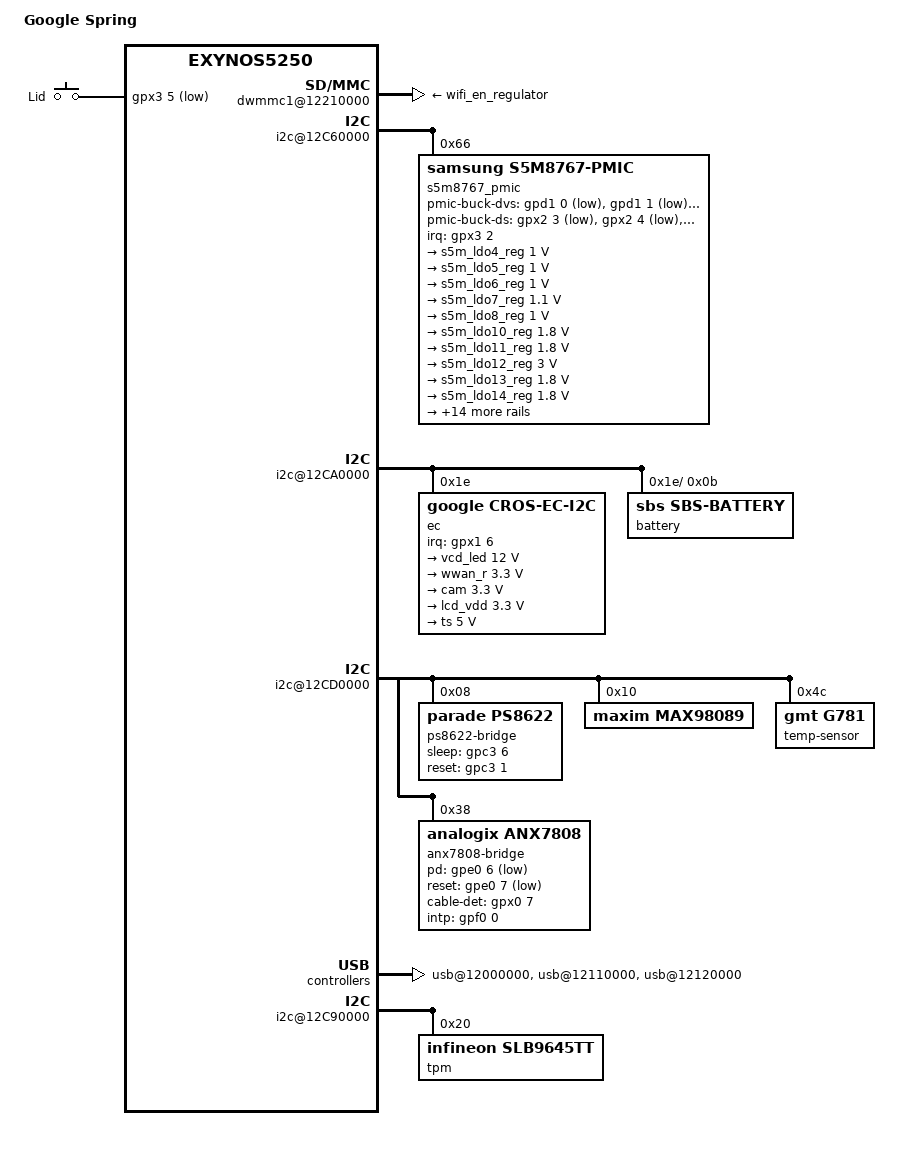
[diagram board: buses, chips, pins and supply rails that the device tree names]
/*
 * Google Spring board device tree source
 *
 * Copyright (c) 2013 Google, Inc
 *
 * This program is free software; you can redistribute it and/or modify
 * it under the terms of the GNU General Public License version 2 as
 * published by the Free Software Foundation.
*/

/dts-v1/;
#include "exynos5250.dtsi"
#include "cros5250-common.dtsi"

/ {
	model = "Google Spring";
	compatible = "google,spring", "samsung,exynos5250";

	aliases {
		i2c20 = &i2c_20;
	};

	pinctrl@11400000 {
		sd1_clk: sd1-clk {
			samsung,pin-drv = <0>;
		};

		sd1_cmd: sd1-cmd {
			samsung,pin-pud = <3>;
			samsung,pin-drv = <0>;
		};

		sd1_bus4: sd1-bus-width4 {
			samsung,pin-drv = <0>;
		};

		anx7808_irq0: anx7808-irq0 {
			samsung,pins = "gpx0-7";
			samsung,pin-function = <0>;
			samsung,pin-pud = <0>;
			samsung,pin-drv = <0>;
		};

		dp_hpd: dp-hpd {
			samsung,pins = "gpc3-0";
			samsung,pin-function = <0>;
			samsung,pin-pud = <3>;
			samsung,pin-drv = <0>;
		};

		ec_irq: ec-irq {
			samsung,pins = "gpx1-6";
			samsung,pin-function = <0>;
			samsung,pin-pud = <0>;
			samsung,pin-drv = <0>;
		};

		lid_irq: lid-irq {
			samsung,pins = "gpx3-5";
			samsung,pin-function = <0>;
			samsung,pin-pud = <0>;
			samsung,pin-drv = <0>;
		};

		s5m8767_ds: s5m8767-ds {
			samsung,pins = "gpx2-3", "gpx2-4", "gpx2-5";
			samsung,pin-function = <0>;
			samsung,pin-pud = <1>;
			samsung,pin-drv = <0>;
		};

		s5m8767_dvs: s5m8767-dvs {
			samsung,pins = "gpd1-0", "gpd1-1", "gpd1-2";
			samsung,pin-function = <0>;
			samsung,pin-pud = <1>;
			samsung,pin-drv = <0>;
		};

		s5m8767_irq: s5m8767-irq {
			samsung,pins = "gpx3-2";
			samsung,pin-function = <0>;
			samsung,pin-pud = <0>;
			samsung,pin-drv = <0>;
		};

		ps8622_gpios: ps8622-gpios {
			samsung,pins = "gpc3-1", "gpc3-6";
			samsung,pin-function = <1>;
			samsung,pin-pud = <0>;
			samsung,pin-drv = <0>;
		};

		tps65090_irq: tps65090-irq {
			samsung,pins = "gpx2-6";
			samsung,pin-function = <0>;
			samsung,pin-pud = <0>;
			samsung,pin-drv = <0>;
		};
	};

	pinctrl@13400000 {
		anx7808_gpios: anx7808-gpios {
			samsung,pins = "gpe0-6", "gpe0-7";
			samsung,pin-function = <1>;
			samsung,pin-pud = <0>;
			samsung,pin-drv = <0>;
		};

		anx7808_irq1: anx7808-irq1 {
			samsung,pins = "gpf0-0";
			samsung,pin-function = <0>;
			samsung,pin-pud = <0>;
			samsung,pin-drv = <0>;
		};
	};

	gpio-keys {
		compatible = "gpio-keys";

		pinctrl-names = "default";
		pinctrl-0 = <&power_key_irq &lid_irq>;

		lid-switch {
			label = "Lid";
			gpios = <&gpx3 5 1>;
			linux,input-type = <5>; /* EV_SW */
			linux,code = <0>; /* SW_LID */
			debounce-interval = <1>;
			gpio-key,wakeup;
		};
	};

	dwmmc1@12210000 {
		/*
		 * The current best way to ensure that reset/enable and clocks
		 * are available before we try to probe the WiFi card is through
		 * a chain of regulators.
		 */
		vmmc-supply = <&wifi_en_regulator>;

		status = "okay";
		num-slots = <1>;
		supports-highspeed;
		supports-sdr50-mode;
		broken-cd;
		keep-power-in-suspend;
		edge-triggered-interrupts;
		fifo-depth = <0x80>;
		card-detect-delay = <200>;
		clock-frequency = <800000000>;
		samsung,dw-mshc-ciu-div = <3>;
		samsung,dw-mshc-sdr-timing = <2 3>;
		samsung,dw-mshc-ddr-timing = <1 2>;
		/*
		 * Wifi is a SiP, so can keep drive strengths low
		 * to reduce EMI.
		 */
		pinctrl-names = "default";
		pinctrl-0 = <&sd1_clk &sd1_cmd &sd1_bus4>;
		slot@0 {
			reg = <0>;
			bus-width = <4>;
		};
	};

	dwmmc2@12220000 {
		/* MMC2 pins are used as GPIO for eDP bridge control */
		status = "disabled";
	};

	dwmmc3@12230000 {
		/*
		 * Nothing is connected on MMC3 port : disable it.
		 *
		 * We override the default configuration for this port which
		 * configures it for SDIO in cros5250-common.dtsi.
		 */
		status = "disabled";
	};

	i2c@12C60000 {
		max77686@09 {
			status = "disabled";
		};

		s5m8767_pmic@66 {
			compatible = "samsung,s5m8767-pmic";
			interrupt-parent = <&gpx3>;
			interrupts = <2 0>;
			pinctrl-names = "default";
			pinctrl-0 = <&s5m8767_irq &s5m8767_dvs &s5m8767_ds>;
			wakeup-source;
			reg = <0x66>;

			s5m-core,enable-low-jitter;
			s5m-core,device_type = <2>;

			s5m8767,pmic-buck-dvs-gpios = <&gpd1 0 1>, /* DVS1 */
						      <&gpd1 1 1>, /* DVS2 */
						      <&gpd1 2 1>; /* DVS3 */

			s5m8767,pmic-buck-ds-gpios = <&gpx2 3 1>, /* SET1 */
						     <&gpx2 4 1>, /* SET2 */
						     <&gpx2 5 1>; /* SET3 */


			/*
			 * the following arrays of DVS voltages are not used
			 * since we are not using GPIOs to control PMIC bucks
			 * but they must be defined to please the driver.
			 */
			s5m8767,pmic-buck2-dvs-voltage = <1350000>, <1300000>,
							 <1250000>, <1200000>,
							 <1150000>, <1100000>,
							 <1000000>, <950000>;

			s5m8767,pmic-buck3-dvs-voltage = <1100000>, <1100000>,
							 <1100000>, <1100000>,
							 <1000000>, <1000000>,
							 <1000000>, <1000000>;

			s5m8767,pmic-buck4-dvs-voltage = <1200000>, <1200000>,
							 <1200000>, <1200000>,
							 <1200000>, <1200000>,
							 <1200000>, <1200000>;

			regulators {
				s5m_ldo4_reg: LDO4 {
					regulator-name = "P1.0V_LDO_OUT4";
					regulator-min-microvolt = <1000000>;
					regulator-max-microvolt = <1000000>;
					regulator-always-on;
					/* Output OFF */
					op_mode = <0>;
				};
				s5m_ldo5_reg: LDO5 {
					regulator-name = "P1.0V_LDO_OUT5";
					regulator-min-microvolt = <1000000>;
					regulator-max-microvolt = <1000000>;
					regulator-always-on;
					/* Output OFF */
					op_mode = <0>;
				};
				s5m_ldo6_reg: LDO6 {
					regulator-name = "vdd_mydp";
					regulator-min-microvolt = <1000000>;
					regulator-max-microvolt = <1000000>;
					regulator-always-on;
					/* Output ON/OFF controlled by PWRREQ */
					op_mode = <3>;
				};
				s5m_ldo7_reg: LDO7 {
					regulator-name = "P1.1V_LDO_OUT7";
					regulator-min-microvolt = <1100000>;
					regulator-max-microvolt = <1100000>;
					regulator-always-on;
					/* Output ON/OFF controlled by PWRREQ */
					op_mode = <3>;
				};
				s5m_ldo8_reg: LDO8 {
					regulator-name = "P1.0V_LDO_OUT8";
					regulator-min-microvolt = <1000000>;
					regulator-max-microvolt = <1000000>;
					regulator-always-on;
					/* Output ON/OFF controlled by PWRREQ */
					op_mode = <3>;
				};
				s5m_ldo10_reg: LDO10 {
					regulator-name = "P1.8V_LDO_OUT10";
					regulator-min-microvolt = <1800000>;
					regulator-max-microvolt = <1800000>;
					regulator-always-on;
					/* Output ON/OFF controlled by PWRREQ */
					op_mode = <3>;
				};
				s5m_ldo11_reg: LDO11 {
					regulator-name = "P1.8V_LDO_OUT11";
					regulator-min-microvolt = <1800000>;
					regulator-max-microvolt = <1800000>;
					regulator-always-on;
					/* Output OFF */
					op_mode = <0>;
				};
				s5m_ldo12_reg: LDO12 {
					regulator-name = "P3.0V_LDO_OUT12";
					regulator-min-microvolt = <3000000>;
					regulator-max-microvolt = <3000000>;
					regulator-always-on;
					/* Output ON/OFF controlled by PWRREQ */
					op_mode = <3>;
				};
				s5m_ldo13_reg: LDO13 {
					regulator-name = "P1.8V_LDO_OUT13";
					regulator-min-microvolt = <1800000>;
					regulator-max-microvolt = <1800000>;
					regulator-always-on;
					/* Output OFF */
					op_mode = <0>;
				};
				s5m_ldo14_reg: LDO14 {
					regulator-name = "P1.8V_LDO_OUT14";
					regulator-min-microvolt = <1800000>;
					regulator-max-microvolt = <1800000>;
					regulator-always-on;
					/* Output ON/OFF controlled by PWRREQ */
					op_mode = <3>;
				};
				s5m_ldo15_reg: LDO15 {
					regulator-name = "P1.0V_LDO_OUT15";
					regulator-min-microvolt = <1000000>;
					regulator-max-microvolt = <1000000>;
					regulator-always-on;
					/* Output ON/OFF controlled by PWRREQ */
					op_mode = <3>;
				};
				s5m_ldo16_reg: LDO16 {
					regulator-name = "P1.8V_LDO_OUT16";
					regulator-min-microvolt = <1800000>;
					regulator-max-microvolt = <1800000>;
					regulator-always-on;
					/* Output ON/OFF controlled by PWRREQ */
					op_mode = <3>;
				};
				s5m_ldo17_reg: LDO17 {
					regulator-name = "P2.8V_LDO_OUT17";
					regulator-min-microvolt = <2800000>;
					regulator-max-microvolt = <2800000>;
					regulator-always-on;
					/* Output OFF */
					op_mode = <0>;
				};
				s5m_ldo25_reg: LDO25 {
					regulator-name = "vdd_bridge";
					regulator-min-microvolt = <1200000>;
					regulator-max-microvolt = <1200000>;
					/* Output ON */
					op_mode = <1>;
				};
				s5m_buck1_reg: BUCK1 {
					regulator-name = "vdd_mif";
					regulator-min-microvolt = <950000>;
					regulator-max-microvolt = <1300000>;
					regulator-always-on;
					regulator-boot-on;
					/* Output ON/OFF controlled by PWRREQ */
					op_mode = <3>;
				};

				s5m_buck2_reg: BUCK2 {
					regulator-name = "vdd_arm";
					regulator-min-microvolt = <850000>;
					regulator-max-microvolt = <1350000>;
					regulator-always-on;
					regulator-boot-on;
					/* Output ON/OFF controlled by PWRREQ */
					op_mode = <3>;
				};

				s5m_buck3_reg: BUCK3 {
					regulator-name = "vdd_int";
					regulator-min-microvolt = <900000>;
					regulator-max-microvolt = <1200000>;
					regulator-always-on;
					regulator-boot-on;
					/* Output ON/OFF controlled by PWRREQ */
					op_mode = <3>;
				};

				s5m_buck4_reg: BUCK4 {
					regulator-name = "vdd_g3d";
					regulator-min-microvolt = <850000>;
					regulator-max-microvolt = <1300000>;
					regulator-boot-on;
					/* Output ON/OFF controlled by PWRREQ */
					op_mode = <3>;
				};

				s5m_buck5_reg: BUCK5 {
					regulator-name = "P1.8V_BUCK_OUT5";
					regulator-min-microvolt = <1800000>;
					regulator-max-microvolt = <1800000>;
					regulator-always-on;
					regulator-boot-on;
					/* Output ON */
					op_mode = <1>;
				};

				s5m_buck6_reg: BUCK6 {
					regulator-name = "P1.2V_BUCK_OUT6";
					regulator-min-microvolt = <1200000>;
					regulator-max-microvolt = <1200000>;
					regulator-always-on;
					regulator-boot-on;
					/* Output OFF */
					op_mode = <0>;
				};

				s5m_buck9_reg: BUCK9 {
					regulator-name = "vdd_ummc";
					regulator-min-microvolt = <900000>;
					regulator-max-microvolt = <3000000>;
					regulator-always-on;
					regulator-boot-on;
					/* Output ON/OFF controlled by PWRREQ */
					op_mode = <3>;
				};

				s5m_en32khz_ap: EN32KHZ_AP {
					regulator-name = "en32khz_ap";
					regulator-always-on;
					regulator-boot-on;
					op_mode = <1>; /* Normal Mode */
				};

				s5m_en32khz_cp: EN32KHZ_CP {
					regulator-name = "en32khz_cp";
					regulator-always-on;
					regulator-boot-on;
					op_mode = <1>; /* Normal Mode */
				};

				s5m_en32khz_bt: EN32KHZ_BT {
					regulator-name = "en32khz_bt";
					regulator-always-on;
					regulator-boot-on;
					op_mode = <1>; /* Normal Mode */
				};
			};
		};
	};

	i2c@12CA0000 {
		ec: cros-ec@1e {
			compatible = "google,cros-ec-i2c";
			reg = <0x1e>;
			interrupts = <6 0>;
			interrupt-parent = <&gpx1>;
			pinctrl-names = "default";
			pinctrl-0 = <&ec_irq>;
			wakeup-source;

			nv-storage {
				compatible = "google,cros-ec-vbc";
			};

			power-regulator {
				compatible = "ti,cros-ec-tps65090";

				infet1-supply = <&vbat>;
				infet2-supply = <&vbat>;
				infet3-supply = <&vbat>;
				infet4-supply = <&vbat>;
				infet5-supply = <&vbat>;
				infet6-supply = <&vbat>;
				infet7-supply = <&vbat>;

				regulators {
					vfet1 {
						tps65090-control-reg = <0x0f>;
						regulator-name = "vcd_led";
						regulator-min-microvolt = <12000000>;
						regulator-max-microvolt = <12000000>;
					};
					vfet3 {
						tps65090-control-reg = <0x11>;
						regulator-name = "wwan_r";
						regulator-min-microvolt = <3300000>;
						regulator-max-microvolt = <3300000>;
						regulator-always-on;
					};
					vfet5 {
						tps65090-control-reg = <0x13>;
						regulator-name = "cam";
						regulator-min-microvolt = <3300000>;
						regulator-max-microvolt = <3300000>;
						regulator-always-on;
						regulator-suspend-mem-disabled;
					};
					vfet6 {
						tps65090-control-reg = <0x14>;
						regulator-name = "lcd_vdd";
						regulator-min-microvolt = <3300000>;
						regulator-max-microvolt = <3300000>;
					};
					vfet7 {
						tps65090-control-reg = <0x15>;
						regulator-name = "ts";
						regulator-min-microvolt = <5000000>;
						regulator-max-microvolt = <5000000>;
					};
				};
			};

			charger {
				compatible = "ti,cros-ec-charger";
			};

			/* Arbitrarily assign bus 20 since past exynos range */
			i2c_20: i2c-tunnel {
				compatible = "google,cros-ec-i2c-tunnel";
				#address-cells = <1>;
				#size-cells = <0>;

				google,remote-bus = <0>;
				google,limited-passthrough;
				battery: sbs-battery@b {
					compatible = "sbs,sbs-battery";
					reg = <0xb>;
					sbs,poll-retry-count = <1>;
					sbs,i2c-retry-count = <2>;
				};
			};
		};
	};

	i2c@12CD0000 {
		light-sensor {
			status = "disabled";
		};
	};

	usb@12000000 {
		status = "okay";
	};

	usb@12110000 {
		status = "okay";
		supports-hsicphy-reset;
	};

	usb@12120000 {
		status = "okay";
	};

	fimd {
		samsung,fimd-vidout-rgb;
		samsung,fimd-inv-vclk;
		samsung,default-window = <0>;
		samsung,cursor-window = <4>;
		samsung,fimd-win-bpp = <32>;
		samsung,fimd-src-clk-rate = <70500000>;
		samsung,use-mie-dithering;
	};

	lcd_dp0: lcd_panel0 {
		lcd-htiming = <40 40 32 1366>;
		lcd-vtiming = <10 12 6 768>;
		lcd-dimensions = <256 144>;
	};

	display-port-controller {
		samsung,dp-display = <&lcd_dp0>;
		samsung,dp-frame-rate = <60>;
		samsung,color-space = <0>;
		samsung,dynamic-range = <0>;
		samsung,ycbcr-coeff = <0>;
		samsung,color-depth = <1>;
		samsung,link-rate = <0x0a>;
		samsung,lane-count = <1>;
		samsung,hpd-gpio = <&gpc3 0 0>;
		pinctrl-names = "default";
		pinctrl-0 = <&dp_hpd>;
	};

	hdmi {
		hdmi-en-supply = <&s5m_ldo8_reg>;
		vdd-supply = <&s5m_ldo8_reg>;
		vdd_osc-supply = <&s5m_ldo10_reg>;
		vdd_pll-supply = <&s5m_ldo8_reg>;
	};

	sound {
		compatible = "google,daisy-audio-max98089";
		samsung,audio-codec = <&max98089>;
		/* pins and clocks are defined in cros5250-common.dtsi */
	};

	i2c@12C90000 {
		samsung,i2c-sda-delay = <100>;
		samsung,i2c-max-bus-freq = <400000>;

		tpm {
			compatible = "infineon,slb9645tt";
			reg = <0x20>;
			powered-while-suspended;
		};
	};

	lcd_display_timings: display-timings {
		native-mode = <&timing0>;
		timing0: 1366x768 {
			clock-frequency = <70589280>;
			hactive = <1366>;
			vactive = <768>;
			hfront-porch = <40>;
			hback-porch = <40>;
			hsync-len = <32>;
			vback-porch = <10>;
			vfront-porch = <12>;
			vsync-len = <6>;
		};
	};

	i2c@12CD0000 {
		ps8622-bridge@20 {
			compatible = "parade,ps8622";
			reg = <0x08>;
			sleep-gpio = <&gpc3 6 0>;
			reset-gpio = <&gpc3 1 0>;
			lane-count = <1>;
			pinctrl-names = "default";
			pinctrl-0 = <&ps8622_gpios>;

			/*
			 * The following table maps the timings set forth in the
			 * LCD's datasheet to the timings specified in the
			 * PS8622 datasheet.
			 * ----------+---------------------------+--------------
			 * LCD TIME  | TRANSITION                | PS8622 EQUIV
			 * ----------+---------------------------+--------------
			 * t2 <= 50  | LCD_VCC -> VIDEO_SIGNAL	 | T3+4+5+6+7+8
			 * 200 <= t5 | VIDEO_SIGNAL -> LED_EN	 | T9 + T10
			 * 0 <= t9   | LCD_BL_PWM -> LED_EN	 | T10
			 * 10 <= t8  | VLED -> LCD_BL_PWM	 | --
			 * 200 <= t6 | !LED_EN -> !VIDEO_SIGNAL  | T11 + T12
			 * t3 <= 50  | !VIDEO_SIGNAL -> !LCD_VCC | T13
			 * 400 <= t4 | !LCD_VCC -> LCD_VCC	 | T15
			 * 0 <= t10  | !LED_EN -> !LCD_BL_PWM    | T11
			 * 10 <= t11 | !LCD_BL_PWM -> !VLED      | --
			 * ----------+---------------------------+--------------
			 */
			power-seq-timing = <10 200 10 5 200 10 600>;
			display-timings = <&lcd_display_timings>;
		};

		max98089: codec@10 {
			compatible = "maxim,max98089", "maxim,max98088";
			reg = <0x10>;
		};

		temp-sensor@4c {
			compatible = "gmt,g781";
			reg = <0x4c>;
		};

		anx7808-bridge@38 {
			compatible = "analogix,anx7808";
			reg = <0x38>;
			pd-gpio = <&gpe0 6 1>;
			reset-gpio = <&gpe0 7 1>;
			cable-det-gpio = <&gpx0 7 0>;
			intp-gpio = <&gpf0 0 0>;
			pinctrl-names = "default";
			pinctrl-0 = <&anx7808_gpios &anx7808_irq0 &anx7808_irq1>;
		};
	};

	fixed-rate-clocks {
		xxti {
			compatible = "samsung,clock-xxti";
			clock-frequency = <24000000>;
		};
	};

	pinctrl@11400000 {
		gpa0: gpa0 {
			powerdown-settings = <3 3 3 3 3 3 2 2>;
		};
		gpa1: gpa1 {
			powerdown-settings = <3 3 2 2 3 3>;
		};
		gpa2: gpa2 {
			powerdown-settings = <2 2 2 2 3 2 2 2>;
		};
		gpb0: gpb0 {
			powerdown-settings = <3 3 3 3 3>;
		};
		gpb1: gpb1 {
			powerdown-settings = <3 3 3 3 3>;
		};
		gpb2: gpb2 {
			powerdown-settings = <3 3 2 2>;
		};
		gpb3: gpb3 {
			powerdown-settings = <2 2 2 2>;
		};
		gpc0: gpc0 {
			powerdown-settings = <6 2 2 2 2 2 2>;
		};
		gpc1: gpc1 {
			powerdown-settings = <2 2 2 2>;
		};
		gpc2: gpc2 {
			powerdown-settings = <6 2 3 2 2 2 2>;
		};
		gpc3: gpc3 {
			powerdown-settings = <3 2 3 3 3 3 3>;
		};
		gpc4: gpc4 {
			powerdown-settings = <6 2 3 2 2 2 2>;
		};
		gpd0: gpd0 {
			powerdown-settings = <6 6 6 3>;
		};
		gpd1: gpd1 {
			powerdown-settings = <6 6 6 3 3 6 1 1>;
		};
		gpy0: gpy0 {
			powerdown-settings = <3 3 3 3 3 3>;
		};
		gpy1: gpy1 {
			powerdown-settings = <5 3 3 3>;
		};
		gpy2: gpy2 {
			powerdown-settings = <3 3 3 3 3 3>;
		};
		gpy3: gpy3 {
			powerdown-settings = <3 3 3 3 3 3 3 3>;
		};
		gpy4: gpy4 {
			powerdown-settings = <3 3 3 3 3 3 3 3>;
		};
		gpy5: gpy5 {
			powerdown-settings = <3 3 3 3 3 3 3 3>;
		};
		gpy6: gpy6 {
			powerdown-settings = <3 3 3 3 3 3 3 3>;
		};
	};
	pinctrl@13400000 {
		gpe0: gpe0 {
			powerdown-settings = <3 3 3 3 3 3 4 3>;
		};
		gpe1: gpe1 {
			powerdown-settings = <5 3>;
		};
		gpf0: gpf0 {
			powerdown-settings = <2 3 3 3>;
		};
		gpf1: gpf1 {
			powerdown-settings = <3 3 3 3>;
		};
		gpg0: gpg0 {
			powerdown-settings = <3 3 3 3 3 3 3 3>;
		};
		gpg1: gpg1 {
			powerdown-settings = <3 3 3 3 3 3 3 3>;
		};
		gpg2: gpg2 {
			powerdown-settings = <3 3>;
		};
		gph0: gph0 {
			powerdown-settings = <3 3 3 3>;
		};
		gph1: gph1 {
			powerdown-settings = <3 3 3 3 3 3 3 3>;
		};
	};
	pinctrl@10d10000 {
		gpv0: gpv0 {
			powerdown-settings = <3 3 3 3 3 3 3 3>;
		};
		gpv1: gpv1 {
			powerdown-settings = <3 3 3 3 3 3 3 3>;
		};
		gpv2: gpv2 {
			powerdown-settings = <3 3 3 3 3 3 3 3>;
		};
		gpv3: gpv3 {
			powerdown-settings = <3 3 3 3 3 3 3 3>;
		};
		gpv4: gpv4 {
			powerdown-settings = <3 3>;
		};
	};
	pinctrl@03860000 {
		gpz: gpz {
			powerdown-settings = <6 3 6 6 6 3 3>;
		};
	};

};

#include "cros-ec-keyboard.dtsi"
